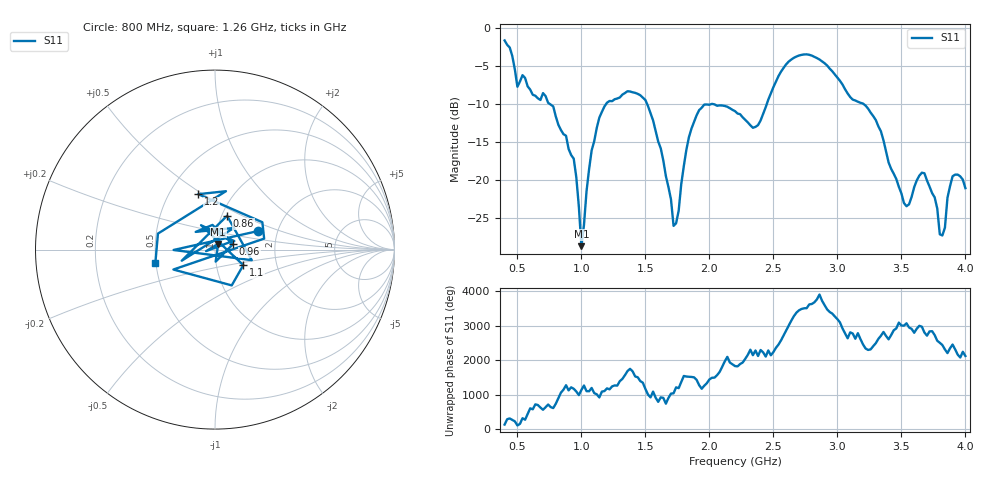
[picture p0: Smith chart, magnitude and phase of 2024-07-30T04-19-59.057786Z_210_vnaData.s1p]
!Created with skrf (http://scikit-rf.org).
# Hz S RI R 50.0
!freq ReS11 ImS11
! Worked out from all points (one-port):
!   181 points, 400 MHz to 4 GHz, reference 50 ohm
!   lowest |S11| = -28.7 dB at 1 GHz (marker M1), VSWR 1.08, Z = 51.7 + j3.31 ohm
!   |S11| at or under -10 dB: 753.1 MHz to 1.193 GHz (440 MHz wide, 45.2 % of centre); 1.513 GHz to 2.017 GHz (503.2 MHz wide, 28.5 % of centre); 3.204 GHz to end of sweep (the widest 3 of 4)
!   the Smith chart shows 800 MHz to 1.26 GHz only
!   S11 on the Smith chart (normalised r, x): 800 MHz: 1.58, +0.35; 860 MHz: 1.06, +0.42; 960 MHz: 1.22, +0.07; 1.1 GHz: 1.35, -0.24; 1.2 GHz: 0.69, +0.48; 1.26 GHz: 0.50, -0.08
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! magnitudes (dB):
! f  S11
! 400 MHz  -1.6
! 500 MHz  -7.7
! 540 MHz  -6.2
! 800 MHz  -11.6
! 860 MHz  -14.0
! 960 MHz  -19.6
! 1 GHz  -28.7
! 1.1 GHz  -14.9
! 1.2 GHz  -9.8
! 1.26 GHz  -9.4
! 1.3 GHz  -9.1
! 1.5 GHz  -9.5
! 1.62 GHz  -15.8
! 1.72 GHz  -26.0
! 1.76 GHz  -24.0
! 1.84 GHz  -14.4
! 1.92 GHz  -10.8
! 2.2 GHz  -10.9
! 2.38 GHz  -12.8
! 2.66 GHz  -3.9
! 2.86 GHz  -4.1
! 3.1 GHz  -9.1
! 3.3 GHz  -12.1
! 3.56 GHz  -23.2
! 3.68 GHz  -19.1
! 3.82 GHz  -27.3
! 3.9 GHz  -19.5
! 4 GHz  -21.1
